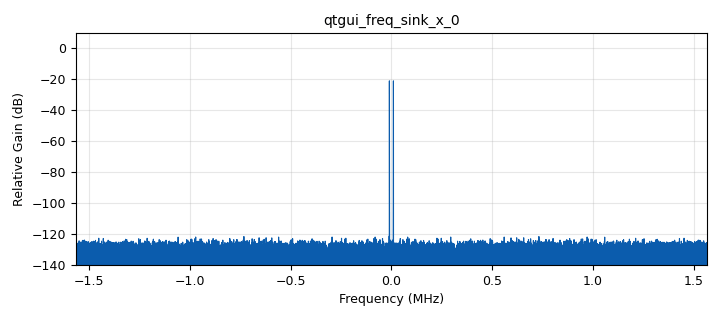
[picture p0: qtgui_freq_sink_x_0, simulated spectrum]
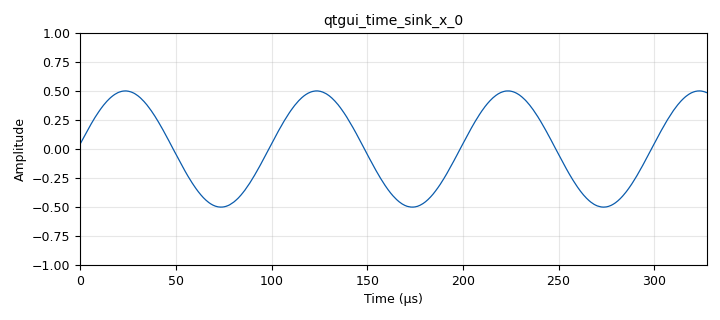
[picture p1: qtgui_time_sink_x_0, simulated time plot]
options:
  parameters:
    author: labcom
    generate_options: qt_gui
    id: Lab_comu_I_LAB2
    output_language: python
    title: Prueba00
  states: {}

blocks:
- name: A
  id: variable_qtgui_range
  parameters:
    label: Amplitud señal
    start: '0'
    step: '1E-2'
    stop: '0.5'
    value: '0.5'
  states: {}
- name: GTX
  id: variable_qtgui_range
  parameters:
    label: ganancia transmisor
    start: '0'
    step: '0.5'
    stop: '30'
    value: '0.5'
  states: {}
- name: 'No'
  id: variable_qtgui_range
  parameters:
    label: Amplitud Ruido
    start: '0'
    step: '1e-6'
    stop: '25e-1'
    value: '1e-4'
  states: {}
- name: fc
  id: variable_qtgui_range
  parameters:
    label: frecuencia portadora
    start: 50E6
    step: 1E5
    stop: 1E9
    value: 200E6
  states: {}
- name: fcut
  id: variable_qtgui_range
  parameters:
    start: '0'
    step: '100'
    stop: samp_rate/2
    value: samp_rate/2
  states: {}
- name: fm
  id: variable_qtgui_range
  parameters:
    label: Frecuencia Señal
    start: 1E3
    step: 1E3
    stop: 1E6
    value: 10E3
  states: {}
- name: samp_rate
  id: variable
  parameters:
    value: 3.125E6
  states: {}
- name: t_band
  id: variable_qtgui_range
  parameters:
    label: Banda de transisicon
    start: '0'
    step: '100'
    stop: samp_rate/20
    value: samp_rate/2000
    widget: slider
  states: {}
- name: analog_noise_source_x_0
  id: analog_noise_source_x
  parameters:
    amp: 'No'
    noise_type: analog.GR_GAUSSIAN
    seed: '0'
    type: float
  states: {}
- name: analog_sig_source_x_0
  id: analog_sig_source_x
  parameters:
    amp: A
    freq: fm
    offset: '0'
    phase: '0'
    samp_rate: samp_rate
    type: float
    waveform: analog.GR_SIN_WAVE
  states: {}
- name: blocks_add_xx_0
  id: blocks_add_xx
  parameters:
    type: float
  states: {}
- name: blocks_float_to_complex_0
  id: blocks_float_to_complex
  parameters: {}
  states: {}
- name: blocks_throttle2_0
  id: blocks_throttle2
  parameters:
    samples_per_second: samp_rate
    type: float
  states: {}
- name: low_pass_filter_0
  id: low_pass_filter
  parameters:
    cutoff_freq: fcut
    decim: '1'
    gain: '1'
    samp_rate: samp_rate
    type: fir_filter_fff
    width: t_band
    win: window.WIN_HAMMING
  states: {}
- name: qtgui_freq_sink_x_0
  id: qtgui_freq_sink_x
  parameters:
    bw: samp_rate
    fc: '0'
    fftsize: '32768'
    type: float
  states: {}
- name: qtgui_time_sink_x_0
  id: qtgui_time_sink_x
  parameters:
    size: '1024'
    srate: samp_rate
    type: float
  states: {}
- name: uhd_usrp_sink_0
  id: uhd_usrp_sink
  parameters:
    ant0: '"TX/RX"'
    center_freq0: GTX
    gain0: fc
    samp_rate: samp_rate
    sync: pc_clock
    type: fc32
  states: {}

connections:
- [analog_noise_source_x_0, '0', blocks_add_xx_0, '1']
- [analog_sig_source_x_0, '0', blocks_throttle2_0, '0']
- [blocks_add_xx_0, '0', low_pass_filter_0, '0']
- [blocks_float_to_complex_0, '0', uhd_usrp_sink_0, '0']
- [blocks_throttle2_0, '0', blocks_add_xx_0, '0']
- [low_pass_filter_0, '0', blocks_float_to_complex_0, '0']
- [low_pass_filter_0, '0', qtgui_freq_sink_x_0, '0']
- [low_pass_filter_0, '0', qtgui_time_sink_x_0, '0']

metadata:
  file_format: 1
  grc_version: v3.11.0.0git-810-g1ecb8565
